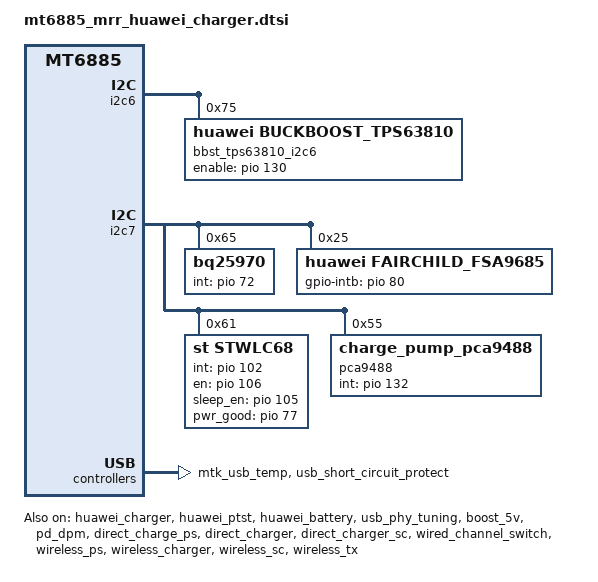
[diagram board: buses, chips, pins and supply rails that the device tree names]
&charger {
	ac_charger_current = <2695000>;
	ac_charger_input_current = <2300000>;
	fcp_charger_current = <2500000>;
	fcp_charger_input_current = <1400000>;
	non_std_ac_charger_current = <1200000>;
	pd_vbus_upper_bound = <9000000>;
	max_charger_voltage = <12000000>;
	bc12_charger = <22>; /* usb switch do bc12 */
	dpm_enable;
	dynamic_cv_en;
	battery_cv = <4410000>;
	iterm = <150000>;
	vbus_max_limit = <11500>;
	jeita_temp_t2_to_t3_cv = <4410000>;
	jeita_temp_t1_to_t2_cv = <4410000>;
	jeita_temp_t0_to_t1_cv = <4410000>;
	jeita_temp_t2_to_t3_cur = <2695000>;
	vdpm_buf_limit = <100>;
	vdpm_para =
			"-32767", "4000", "4300", "50",
			"4000", "4200", "4500", "50",
			"4200", "32767", "4600", "50";
	charge_full_design = <4000000>;
	enable_dynamic_mivr;
};

&pio {

	bq25970_irq_pins_default: bq25970_irq_pins_default {
		pins_cmd_dat {
			pinmux = <PINMUX_GPIO72__FUNC_GPIO72>;
			slew-rate = <0>;
			bias-pull-up;
		};
	};
	fsa9685_irq_pins_default: fsa9685_irq_pins_default {
		pins_cmd_dat {
			pinmux = <PINMUX_GPIO80__FUNC_GPIO80>;
			slew-rate = <0>;
			bias-pull-up;
		};
	};

	stwlc68_irq_pins_default: stwlc68_irq_pins_default {
		pins_cmd_dat {
			pinmux = <PINMUX_GPIO102__FUNC_GPIO102>;
			slew-rate = <0>;
			bias-pull-up;
		};
	};
	pca9488_irq_pins_default: pca9488_irq_pins_default {
		pins_cmd_dat {
			pinmux = <PINMUX_GPIO132__FUNC_GPIO132>;
			slew-rate = <0>;
			bias-pull-up;
		};
	};
};

&i2c6 {
	#address-cells = <1>;
	#size-cells = <0>;
	bbst_tps63810_i2c6@75 {
		compatible = "huawei, buckboost_tps63810";
		reg = <0x75>;
		gpio_enable = <&pio 130 0x0>;
		vsel_state = <0>;
		vsel_range = <1>;
		status = "ok";
	};
};
&i2c7 {
	#address-cells = <1>;
	#size-cells = <0>;
	bq25970@65 {
		compatible = "bq25970";
		pinctrl-names = "default";
		pinctrl-0 = <&bq25970_irq_pins_default>;
		gpio_int = <&pio 72 0x0>;
		switching_frequency = <675>;
		sense_r_config = <50>;
		sense_r_actual = <50>;
		reg = <0x65>;
		status = "ok";
	};

	fairchild_fsa9685@25 {
		compatible = "huawei,fairchild_fsa9685";
		reg = <0x25>;
		pinctrl-names = "default";
		pinctrl-0 = <&fsa9685_irq_pins_default>;
		fairchild_fsa9685,gpio-intb = <&pio 80 0x0>;
		fcp_support = <1>;
		scp_support = <1>;
		power_by_5v = <1>;
		close_bc12 = <1>;
		/* for rt8979 */
		interrupt-names = "vbus_change", "device_change", "detach",
			"attach";
		/* auto_switch; */
		scp;
		dcd;
		dcd_timeout = <600>;  /* ms */
		intb_watchdog = <1000>;  /* ms */
		ovp_sel = <14500000>;  /* uV */
		status = "ok";
	};

	stwlc68@61 {
		compatible = "st,stwlc68";
		reg = <0x61>;
		pinctrl-names = "default";
		pinctrl-0 = <&stwlc68_irq_pins_default>;
		gpio_int = <&pio 102 0x0>;
		gpio_en = <&pio 106 0x0>;
		gpio_sleep_en = <&pio 105 0x0>;
		gpio_pwr_good = <&pio 77 0x0>;
		gpio_en_valid_val = <0>;
		rx_ss_good_lth = <110>;
		rx_ldo_cfg_5v = /bits/ 8 <0x13 0x13 0x0D 0x03 0x13 0x20 0x2C>;
		rx_ldo_cfg_9v = /bits/ 8 <0x13 0x13 0x0D 0x03 0x13 0x20 0x2C>;
		rx_ldo_cfg_12v = /bits/ 8 <0x13 0x13 0x0D 0x03 0x13 0x20 0x2C>;
		rx_ldo_cfg_sc = /bits/ 8 <0x2F 0x2F 0x0D 0x03 0x13 0x20 0x2C>;
		rx_fod_5v = /bits/ 8 <0x1E 0x37 0x6E 0x00 0x00 0x00 0x00 0x3A 0x3C 0x3A 0x3A 0x9C>;
		rx_fod_9v = /bits/ 8 <0x19 0x6E 0x8C 0x00 0x00 0x00 0x00 0x96 0xAF 0x50 0x4B 0xB0>;
		rx_fod_12v = /bits/ 8 <0x1E 0x3C 0x82 0x00 0x00 0x00 0x00 0x0E 0x21 0x22 0x2B 0x9C>;
		rx_fod_15v = /bits/ 8 <0x3A 0x4B 0x8C 0x00 0x00 0x00 0x00 0xDC 0x4B 0xC3 0x3C 0xB0>;
		rx_fod_9v_cp60 = /bits/ 8 <0x14 0x55 0x8C 0x00 0x00 0x00 0x00 0x3E 0x41 0x34 0x41 0xB0>;
                rx_offset_9v = /bits/ 8 <0x28>;
                rx_offset_15v = /bits/ 8 <0xa>;
		temp_para = <
			/* temp(min,max] ilim temp_back */
			0   100       2500 10
			100 999       1500 0
		>;
		time_para = <
			/* time  ilim */
	                   300   1300
	                   0     1500
		>;
		status = "ok";
	};
	pca9488@55 {
		compatible = "charge_pump_pca9488";
		reg = <0x55>;
		pinctrl-names = "default";
		pinctrl-0 = <&pca9488_irq_pins_default>;
		gpio_int = <&pio 132 0x0>;
		status = "ok";
	};
};
&huawei_charger {
	compatible = "huawei,charger";
	status = "ok";
};
&vbus_channel_boost_gpio {
	gpio_otg_switch = <&pio 138 0x0>;
	status = "ok";
};
&huawei_ptst {
	compatible = "huawei,power_test";
	status = "ok";
};

&huawei_battery {
	compatible = "huawei,battery";
	voltage_max_design = <4430000>;
	status = "ok";
};

&buck_boost {
	compatible = "huawei, buck_boost";
	status = "ok";
};


&lk_charger{
	ac_charger_current = <1050000>;
	ac_charger_input_current = <1050000>;
	non_std_ac_charger_current = <1050000>;
	max_charger_voltage = <12000000>;
	is_power_path;
	poweron_charger_enable = <1>;
};

&bat_gm30 {
	bat_para =
		"BYT_CGL_137", "130000", "220000",
		"BCY_CAE", "250000", "350000",
		"BNT_CAE", "400000", "510000",
		"BIT_CBL", "830000", "960000";
	min_fcc = <2800000>;
	max_fcc = <4000000>;
	dlpt_optimization;
	ntc_compensation_is = <1>;
	ntc_temp_compensation_para =
		"11000", "140",
		"10000", "120",
		"9000", "100",
		"8000", "80",
		"7000", "60",
		"6000", "50",
		"5000", "40",
		"3000", "20",
		"2000", "10";
	CAR_TUNE_VALUE = <(100)>;
	#include "BYT_CGL_137_4v40_4900mah_ext.dtsi"
	#include "BCY_CAE_4v40_4900mah_ext.dtsi"
	#include "BNT_CAE_4v40_4900mah_ext.dtsi"
	#include "BIT_CBL_4v40_4900mah_ext.dtsi"
};

&usb_phy_tuning {
	d_u2_vrt_ref = <7>;
	d_u2_term_ref = <7>;
	d_u2_enhance = <3>;
	status = "ok";
};

&mt6360_pmu {
	mt6360,intr_gpio_num = <24>; /* direct defined GPIO num */
	mt6360,intr_gpio = <&pio 24 0x0>;
};

&boost_5v {
	boost_5v_use_common_pmic = <0>;
	boost_5v_use_buckboost = <1>;
	boost_5v_buckboost_vol = <5000>;
	status = "ok";
};

&pd_dpm {
	support_analog_audio = <1>;
	otg_channel = <1>;
	status = "ok";
};

&mt6360_typec {
	mt6360pd,intr_gpio_num = <25>; /* direct defined GPIO num */
	mt6360pd,intr_gpio = <&pio 25 0x0>;
};

&direct_charge_ps {
	status = "ok";
};

&direct_charger {
	use_5A = <1>;
	scp_work_on_charger = <1>;
	need_wired_sw_off = <0>;
	volt_para =
		"4080", "5000", "4650",
		"4230", "4650", "2800",
		"4340", "2800", "1200";
	compensate_r = <20>;
	cc_cable_detect_enable = <1>;
	full_path_res_max = <220>;
	standard_cable_full_path_res_max = <260>;
	first_cc_stage_timer_in_min = <5>;
	stage_need_to_jump = "1";
	low_temp_hysteresis = <5>;
	temp_para =
		"-32767", "10", "0",
		"10", "45", "5000",
		"45", "32767", "0";
	rt_test_para =
		"2000", "105"; /* rt_curr_th rt_test_time */
	status = "ok";
};

&direct_charger_sc {
	use_5A = <1>;
	adaptor_antifake_check_enable = <1>;
	adaptor_antifake_key_index = <2>;
	ui_max_pwr = <40000>;
	dc_volt_ratio = <2>;
	max_adaptor_vset = <11000>;
	init_adapter_vset = <8800>;
	delta_err_10v2p25a = <150>;
	vol_err_th = <500>;
	adaptor_leakage_current_th = <600>;
	high_temp_hysteresis = <1>;
	gain_curr_10v2a = <300>;
	gain_curr_10v2p25a = <500>;
	init_delt_vset = <450>;
	vstep = <20>;
	max_dc_bat_vol = <4380>;
	max_current_for_none_standard_cable = <4200>;
	volt_para =
		"4200", "8000", "6000",
		"4330", "6000", "5460",
		"4350", "5460", "4200",
		"4400", "4200", "1200";
	compensate_r = <20>;
	cc_cable_detect_enable = <1>;
	full_path_res_max = <500>;
	scp_work_on_charger = <1>;
	need_wired_sw_off = <0>;
	standard_cable_full_path_res_max = <500>;
	first_cc_stage_timer_in_min = <10>;
	stage_need_to_jump = "-1";
	is_show_ico_first = <1>;
	is_send_cable_type = <0>;
	temp_para =
		"-32767", "10", "0",
		"10", "45", "8000",
		"45", "32767", "0";
	resist_para =
		"0", "300", "8000",
		"300", "500", "5000";
	std_resist_para =
		"0", "300", "8000",
		"300", "500", "5000";
	10v2p25a_cur_para =
		"-32767", "5500",  "2000",
		"5500",   "9000",  "2500",
		"9000",   "10000", "2250",
		"10000",  "10500", "2000",
		"10500",  "32767", "1500";
	rt_test_para =
		"2500", "105"; /* rt_curr_th rt_test_time */
	status = "ok";
};

&power_thermalzone {
	status = "ok";
};

&mtk_usb_temp {
	io-channels = <&auxadc 4>;
	status = "ok";
};

&usb_short_circuit_protect {
	uscp_threshold_tusb = <40>;
	open_mosfet_temp = <30>;
	close_mosfet_temp = <10>;
	interval_switch_temp = <15>;
	status = "ok";
};

&huawei_ptst {
	/* definition refered to huawei_power_test.dtsi */
	wlc_mmi = <1>;
	wlc_mmi_para = <10 0x07 1 0 0 0>;
	wl_hw_test = <1>;
	wl_hw_module = <0x1>;
	wlc_wp = <1>;
	wlc_wp_para = <1000>;
	status = "ok";
};
&wired_channel_switch {
	use_ovp_cutoff_wired_channel = <1>;
	use_super_switch_cutoff_wired_channel = <0>;
	use_wireless_switch_cutoff_wired_channel = <0>;
	status = "ok";
};
&ovp_channel_switch {
	gpio_ovp_chsw_en = <&pio 71 0x0>;
	gpio_low_by_set_input = <0>;
	status = "disabled";
};
&wireless_ps {
	gpio_txsw = <&pio 84 0x0>;
	gpio_txsw_valid_val = <1>;
	gpio_rxsw = <&pio 126 0x0>;
	gpio_rxsw_valid_val = <0>;
	gpio_ext_pwr_sw = <&pio 81 0x0>;
	gpio_ext_pwr_sw_valid_val = <1>;
	tx_ps_ctrl_src = <1>; /* 0:NA 1:tx_chip 2:AP */
	sysfs_en_pwr = <1>; /* 0:null 1:rx_pwr 2:tx_pwr */
	proc_otp_pwr = <1>; /* 0:null 1:rx_pwr 2:tx_pwr */
	status = "ok";
};

&wireless_charger {
	pmax = <20>;
	fod_status = <0x3a39>; /* b1:fop b2:q_val */
	antifake_key_index = <1>;
	interference_para =
		"0x01", "0xfe", "131", "5000", "5500", "475",
                "0x02", "0xfd", "-1",  "-1",   "-1",   "1000";
	rx_mode_para =
		/*This table should be arranged in ascending order of power mode priority*/
		/*mode  tx_vout  tx_iout tx_vset  rx_vset  rx_iset vrect_lth tbatt cable cert  icon time expect_mode*/
                        "5W",   "5000",  "475",  "5000",  "5500",  "825",  "4650",   "-1", "-1", "-1", "0", "-1",  "4",
                        "7.5W", "9000",  "1400", "9000",  "9900",  "825",  "8000",   "-1", "-1", "-1", "0", "-1",  "2",
                        "10W",  "9000",  "2000", "9000",  "9900",  "1100", "9000",   "-1", "-1", "1",  "1", "-1",  "4",
                        "SC_2", "9000",  "2000", "9000",  "9000",  "-1",   "-1",     "45", "-1", "1",  "1", "-1",  "4",
                        "SC_4", "15000", "1800", "15000", "15000", "-1",   "-1",     "45", "-1", "1",  "2", "-1",  "-1";
	status = "ok";
};

&wireless_sc {
	ibat_max_hth = <7900>;
	ibat_min_lth = <7600>;
	init_para =
		/* in ratio-descending order
		 * ext_pwr: bit(0): needed by sc chip; bit(1): needed by rx
		 * type   type_name ext_pwr rx_ratio vbatt(lth, hth) rx_vout  vout_th vdiff  ileak_th vdelt  rx_vmax
		 */
                 "0x2", "SC_2",   "0",    "1",     "3550", "4380", "9000",  "450",  "300",  "100",   "300", "10000",
                 "0x4", "SC_4",   "2",    "2",     "3550", "4380", "15000", "500",  "300",  "100",   "300", "20000";
                volt_para00 =
                        "4410", "1500", "600";
                volt_para01 =
                        "4250", "3000", "2000",
                        "4320", "2000", "1500",
                        "4420", "1500", "1000";

	volt_para02 =
		"4250", "4200", "3000",
		"4330", "3000", "2050",
		"4390", "2050", "1000";
                bat_para =
                        "default", "10", "45", "0x02", "volt_para00",
                        "default", "10", "45", "0x04", "volt_para01",
                        "liwinon", "10", "45", "0x02", "volt_para00",
                        "liwinon", "10", "45", "0x04", "volt_para01",
                        "atl", "10", "45", "0x02", "volt_para00",
                        "atl", "10", "45", "0x04", "volt_para01",
                        "guangyu", "10", "45", "0x02", "volt_para00",
                        "guangyu", "10", "45", "0x04", "volt_para01";

	status = "ok";
};

&wireless_tx {
	pwr_type = <2>; /* 5VBST */
	/* rx_vmin rx_vmax tx_vset tx_lvset tx_hvset tx_pl_th tx_pl_cnt ext_hdl */
	tx_vset_para = <6200 7700 6800 6300 7600 3000 5 0
                        4900 6400 5500 4500 6300 2200 5 0
                        8500 10900 10000 9500 10800 4500 5 0>;
	/* power_supply ping handshake default */
	tx_stage_vset = <5500 5500 5500 6800>;
	/* type vout iout extra */
	tx_cap = <
                        0x9 5000 1000 0
                        0x9 9000 1400 0
	>;
	status = "ok";
};
